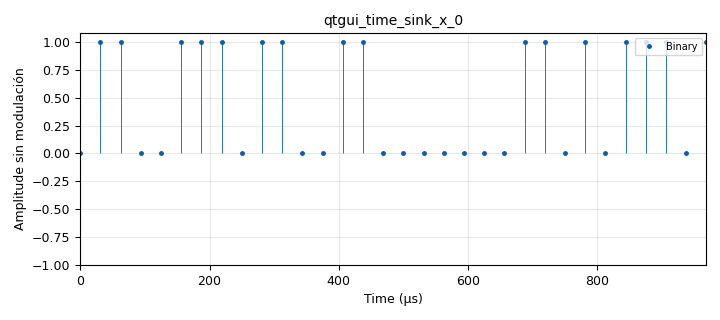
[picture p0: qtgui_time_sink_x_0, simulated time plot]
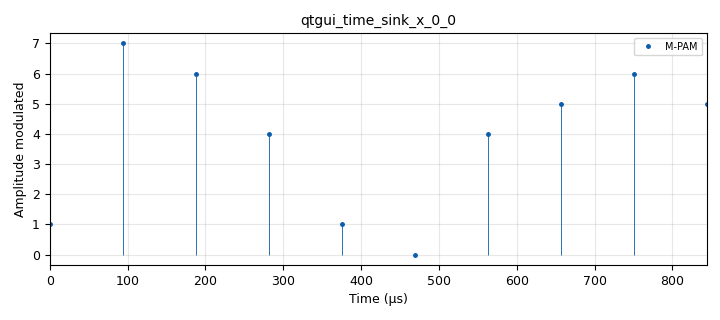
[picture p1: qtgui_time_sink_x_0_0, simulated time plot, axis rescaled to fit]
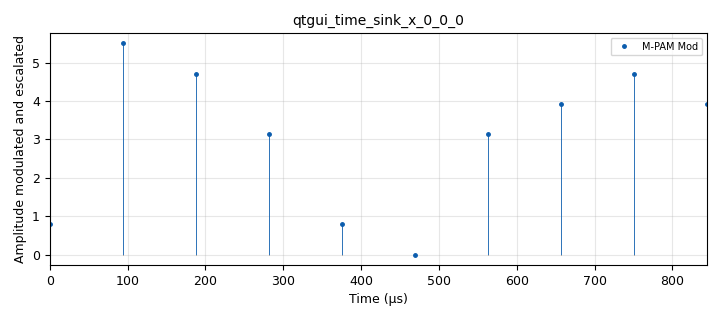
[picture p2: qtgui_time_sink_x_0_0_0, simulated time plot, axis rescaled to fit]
options:
  parameters:
    generate_options: qt_gui
    id: video_homero
    output_language: python
    title: Not titled yet
  states: {}

blocks:
- name: M
  id: variable
  parameters:
    value: '8'
  states: {}
- name: Nbps
  id: variable
  parameters:
    value: int(math.log(M,2))
  states: {}
- name: Rb
  id: variable
  parameters:
    value: '32000'
  states: {}
- name: Rs
  id: variable
  parameters:
    value: Rb/Nbps
  states: {}
- name: analog_random_source_x_0
  id: analog_random_source_x
  parameters:
    max: '2'
    min: '0'
    num_samps: '1000'
    repeat: 'True'
    type: byte
  states: {}
- name: blocks_char_to_float_0
  id: blocks_char_to_float
  parameters:
    scale: '1'
  states: {}
- name: blocks_char_to_float_0_0
  id: blocks_char_to_float
  parameters:
    scale: '1'
  states: {}
- name: blocks_char_to_float_1
  id: blocks_char_to_float
  parameters:
    scale: '1'
  states: {}
- name: blocks_multiply_const_vxx_0
  id: blocks_multiply_const_vxx
  parameters:
    const: 2*math.pi/M
    type: float
  states: {}
- name: blocks_repack_bits_bb_0
  id: blocks_repack_bits_bb
  parameters:
    endianness: gr.GR_LSB_FIRST
    k: '1'
    l: Nbps
  states: {}
- name: import_0
  id: import
  parameters:
    imports: import math
  states: {}
- name: qtgui_time_sink_x_0
  id: qtgui_time_sink_x
  parameters:
    label1: Binary
    marker1: '0'
    size: '32'
    srate: Rb
    stemplot: 'True'
    type: float
    width1: '3'
    ylabel: Amplitude sin modulación
  states: {}
- name: qtgui_time_sink_x_0_0
  id: qtgui_time_sink_x
  parameters:
    label1: M-PAM
    marker1: '0'
    size: 32//Nbps
    srate: Rs
    stemplot: 'True'
    type: float
    width1: '3'
    ylabel: Amplitude modulated
  states: {}
- name: qtgui_time_sink_x_0_0_0
  id: qtgui_time_sink_x
  parameters:
    label1: M-PAM Mod
    marker1: '0'
    size: 32//Nbps
    srate: Rs
    stemplot: 'True'
    type: float
    width1: '3'
    ylabel: Amplitude modulated and escalated
  states: {}

connections:
- [analog_random_source_x_0, '0', blocks_char_to_float_0, '0']
- [analog_random_source_x_0, '0', blocks_repack_bits_bb_0, '0']
- [blocks_char_to_float_0, '0', qtgui_time_sink_x_0, '0']
- [blocks_char_to_float_0_0, '0', qtgui_time_sink_x_0_0, '0']
- [blocks_char_to_float_1, '0', blocks_multiply_const_vxx_0, '0']
- [blocks_multiply_const_vxx_0, '0', qtgui_time_sink_x_0_0_0, '0']
- [blocks_repack_bits_bb_0, '0', blocks_char_to_float_0_0, '0']
- [blocks_repack_bits_bb_0, '0', blocks_char_to_float_1, '0']

metadata:
  file_format: 1
